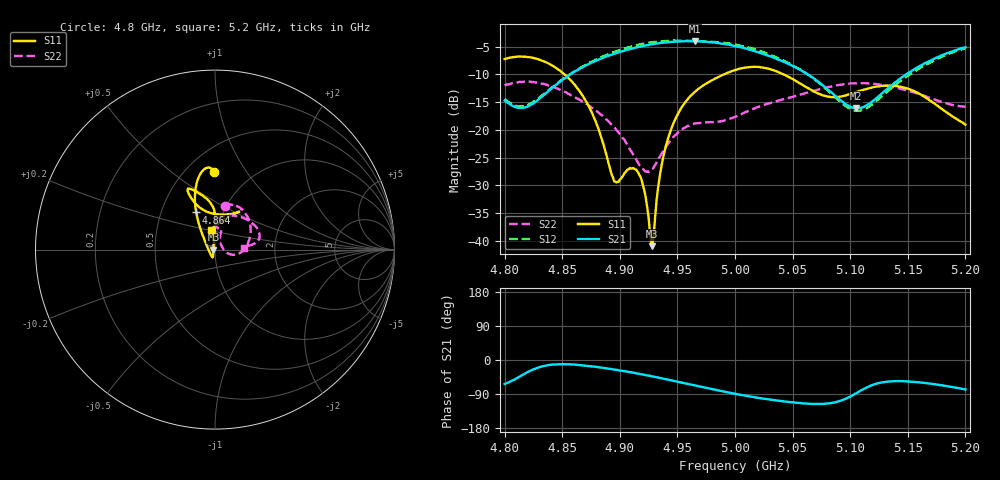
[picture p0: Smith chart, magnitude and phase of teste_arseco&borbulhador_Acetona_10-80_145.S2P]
! Network Analyzer HP8722D
! Hewlett-Packard
! Data name: Linha & Wilkinson
! Saver's name: Rodrigo Anjos
! Comments: Teste da utilização de aquisição
! continua pelo VNA HP8722D
! Time and date: 25/4/2025 16:28
!  Frequency  S11  S21  S12  S22
# HZ  S  MA R 50
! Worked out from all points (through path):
!   401 points, 4.8 GHz to 5.2 GHz, reference 50 ohm
!   highest |S21| = -3.98 dB at 4.965 GHz (marker M1); lowest = -16.1 dB at 5.105 GHz (marker M2)
!   lowest |S11| = -41.0 dB at 4.928 GHz (marker M3), VSWR 1.02, Z = 49.1 + j0.014 ohm
!   |S11| at or under -10 dB: 4.852 GHz to 4.99 GHz (138.2 MHz wide, 2.81 % of centre); 5.042 GHz to end of sweep
!   |S22| runs from -27.6 to -11.3 dB; largest |S21 - S12| = 1.2
!   S11 on the Smith chart (normalised r, x): 4.8 GHz: 0.68, +0.73; 4.864 GHz: 0.75, +0.33; 5.2 GHz: 0.94, +0.21
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4.8e9  0.4349 90.6  0.1839 -63.3  0.1892 70.3  0.2516 76.8
4.82e9  0.4531 96.9  0.1622 -31.8  0.1677 99.0  0.2715 61.4
4.843e9  0.372 106.3  0.2472 -11.8  0.2507 119.0  0.243 36.5
4.864e9  0.2317 116.9  0.3505 -13.0  0.3541 121.0  0.1893 11.7
4.867e9  0.2084 118.6  0.3648 -13.9  0.3692 120.5  0.1821 8.4
4.88e9  0.1117 129.4  0.4241 -18.5  0.4339 118.2  0.1475 -5.5
4.895e9  0.03438 -174.4  0.487 -25.1  0.5023 113.6  0.1058 -15.6
4.91e9  0.04472 -108.7  0.54 -32.5  0.565 106.8  0.06377 -13.4
4.917e9  0.03898 -106.0  0.5625 -36.7  0.5898 103.4  0.04798 -0.0
4.921e9  0.02913 -110.8  0.5737 -39.0  0.6009 101.2  0.04333 13.2
4.928e9  0.00891 179.1  0.5914 -43.1  0.6181 96.9  0.04417 41.8
4.934e9  0.03411 101.3  0.605 -46.9  0.6287 93.1  0.05574 58.6
4.939e9  0.0649 94.4  0.6141 -50.0  0.6339 89.8  0.06745 66.1
4.946e9  0.1111 90.4  0.6223 -54.5  0.6376 85.4  0.08504 70.2
4.965e9  0.2193 91.1  0.6327 -67.2  0.6369 73.2  0.1141 71.1
5e9  0.3464 109.1  0.5708 -89.2  0.5902 50.6  0.1315 88.4
5.03e9  0.3542 115.1  0.4622 -104.4  0.4796 33.7  0.1736 85.1
5.067e9  0.2266 105.4  0.2982 -115.9  0.296 23.6  0.2224 56.8
5.105e9  0.2187 65.4  0.1564 -87.9  0.1487 55.1  0.2631 25.3
5.134e9  0.251 57.4  0.2428 -56.6  0.2285 88.8  0.2471 12.3
5.17e9  0.1823 71.0  0.4243 -62.6  0.4084 84.3  0.1936 6.8
5.2e9  0.1116 101.0  0.5566 -77.8  0.5462 69.9  0.1615 3.7
